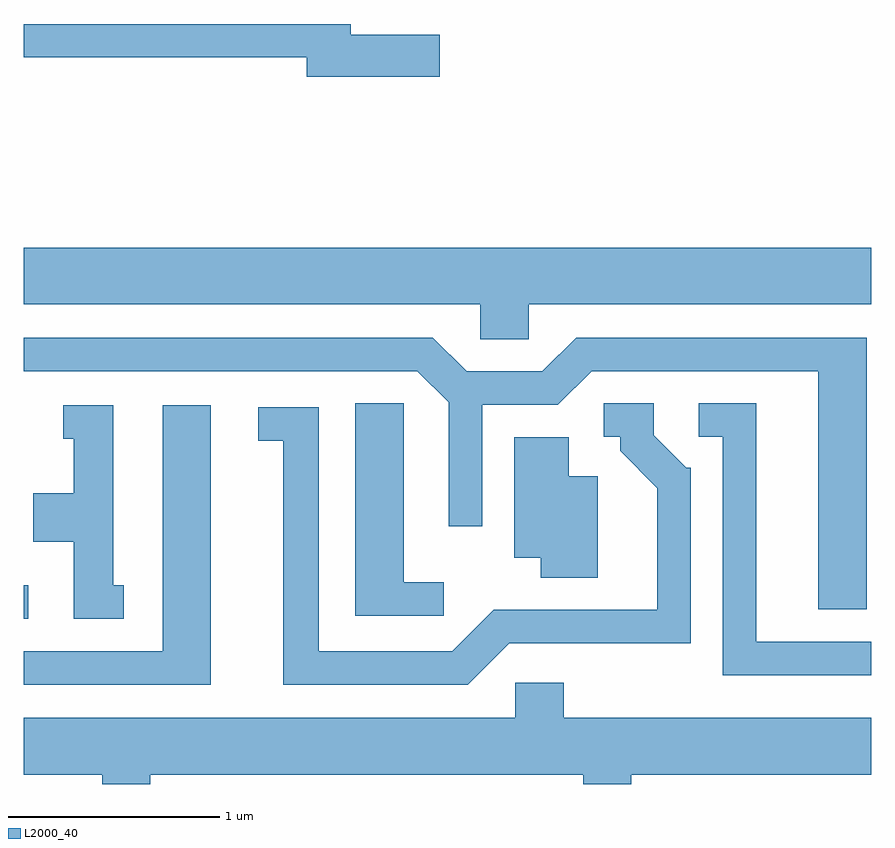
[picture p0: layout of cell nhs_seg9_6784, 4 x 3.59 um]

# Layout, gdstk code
import gdstk
lib = gdstk.Library(unit=1e-6, precision=1e-09)
def R(c, l, rs):  # rectangles x0, y0, x1, y1
    for r in rs: c.add(gdstk.rectangle(r[:2], r[2:], *l))
def P(c, l, *ps):  # polygons
    for p in ps: c.add(gdstk.Polygon(p, *l))
L2000_40 = (2000, 40)

nhs_seg9_6784 = lib.new_cell('nhs_seg9_6784')
R(nhs_seg9_6784, L2000_40, [(385.611,1999.211,385.633,1999.369)])
P(nhs_seg9_6784, L2000_40, [(387.574,2001.969),(387.154,2001.969),(387.154,2002.019),(385.611,2002.019),(385.611,2001.861),(386.946,2001.861),(386.946,2001.771),(387.574,2001.771)],
  [(387.994,2000.696),(389.611,2000.696),(389.611,2000.964),(385.611,2000.964),(385.611,2000.696),(387.766,2000.696),(387.766,2000.531),(387.994,2000.531)],
  [(389.589,2000.539),(388.219,2000.539),(388.059,2000.379),(387.702,2000.379),(387.542,2000.539),(385.611,2000.539),(385.611,2000.381),(387.469,2000.381),(387.616,2000.234),(387.616,1999.648),(387.774,1999.648),(387.774,2000.221),(388.132,2000.221),(388.292,2000.381),(389.361,2000.381),(389.361,1999.256),(389.589,1999.256)],
  [(387.593,1999.384),(387.404,1999.384),(387.404,2000.229),(387.176,2000.229),(387.176,1999.226),(387.593,1999.226)],
  [(387.902,1999.096),(388.759,1999.096),(388.759,1999.924),(388.737,1999.924),(388.584,2000.077),(388.584,2000.229),(388.348,2000.229),(388.348,2000.071),(388.426,2000.071),(388.426,2000.004),(388.601,1999.829),(388.601,1999.254),(387.829,1999.254),(387.634,1999.059),(387.004,1999.059),(387.004,2000.209),(386.718,2000.209),(386.718,2000.051),(386.836,2000.051),(386.836,1998.901),(387.707,1998.901)],
  [(389.611,1999.104),(389.069,1999.104),(389.069,2000.229),(388.798,2000.229),(388.798,2000.071),(388.911,2000.071),(388.911,1998.946),(389.611,1998.946)],
  [(386.083,1999.369),(386.034,1999.369),(386.034,2000.219),(385.798,2000.219),(385.798,2000.061),(385.846,2000.061),(385.846,1999.804),(385.656,1999.804),(385.656,1999.576),(385.846,1999.576),(385.846,1999.211),(386.083,1999.211)],
  [(386.494,2000.219),(386.266,2000.219),(386.266,1999.059),(385.611,1999.059),(385.611,1998.901),(386.494,1998.901)],
  [(388.319,1999.884),(388.184,1999.884),(388.184,2000.069),(387.926,2000.069),(387.926,1999.501),(388.051,1999.501),(388.051,1999.406),(388.319,1999.406)],
  [(386.209,1998.476),(388.251,1998.476),(388.251,1998.432),(388.479,1998.432),(388.479,1998.476),(389.611,1998.476),(389.611,1998.744),(388.159,1998.744),(388.159,1998.909),(387.931,1998.909),(387.931,1998.744),(385.611,1998.744),(385.611,1998.476),(385.981,1998.476),(385.981,1998.432),(386.209,1998.432)])

lib.write_gds('nhs_seg9_6784.gds')
